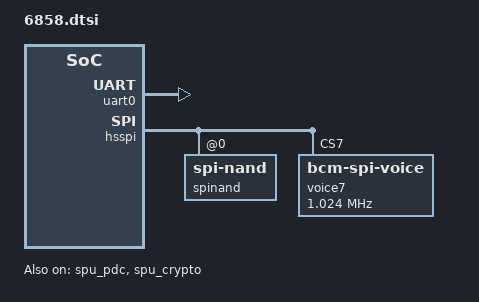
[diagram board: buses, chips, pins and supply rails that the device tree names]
/dts-v1/;

#include <dt-bindings/interrupt-controller/arm-gic.h>
#include <dt-bindings/interrupt-controller/irq.h>

#include "linux_autoconf.h"

#include "../../boot_rsvdmem.dtsi"

/ {
	/* memory reservations */
	#include "../../bcm_rsvdmem.dtsi"

	/* memc */
	#include "../../ip/memc.dtsi"

	aliases {
		serial0 = &uart0;
		serial1 = &uart1;
		spi1 = &hsspi; /* 0 = legacy, 1 = high speed */
		hs_serial0 = &hs_uart0;
		spinand0 = &spinand;
		nand0 = &nand;
	};

	chosen {
		stdout-path = "serial0:115200n8";
		/* increase coherent_pool size */
		bootargs = "coherent_pool=4M cpuidle_sysfs_switch pci=pcie_bus_safe console=ttyS0,115200 earlycon rootwait";
	};

	/* PMC */
	pmc: pmc {
		#define PMC_REG_OFFSET              0x0 0x80201000 
		#define PMC_REG_SIZE                0x0 0x3800
		#define PROCMON_REG_OFFSET          0x0 0x80280000
		#define PROCMON_REG_SIZE            0x0 0x184
		#define MISC_STRAP_BUS_OFFSET       0x0 0xff802600 
		#define MISC_STRAP_BUS_SIZE         0x0 0x4
		#include "../../ip/bcm_pmc_1_x.dtsi"
	};

    /* boot state */
	boot_state: boot_state {
		#define RESET_REASON_OFFSET  0x0 0xff802624
		#define RESET_REASON_SIZE    0x0 0x4
		#define RESET_STATUS_OFFSET  0x0 0xff802748
		#define RESET_STATUS_SIZE    0x0 0x4
		#include "../../ip/bcm_boot_state_v2.dtsi"
	};

	/* wan type auto detect */
	wantype_detect {
		#define GPON_GENERAL_CONFIG_ADDR	0x0 0x80150000
		#define GPON_GENERAL_CONFIG_SIZE	0x0 0x10
		#define EPON_TOP_ADDR			0x0 0x80140000
		#define EPON_TOP_SIZE			0x0 0x1C
		#define EPON_LIF_ADDR			0x0 0x80141800
		#define EPON_LIF_SIZE			0x0 0x110
		#define EPON_XPCSR_ADDR			0x0 0x80143000
		#define EPON_XPCSR_SIZE			0x0 0x124
		#define NGPON_RXGEN_ADDR		0x0 0x80160000
		#define NGPON_RXGEN_SIZE		0x0 0x80
		#include "../../ip/bcm_wantype_detect.dtsi"
	};

#if (defined(CONFIG_BCM_PDC) || defined(CONFIG_BCM_PDC_MODULE)) && \
    (defined(CONFIG_BCM_SPU) || defined(CONFIG_BCM_SPU_MODULE))
	/* spu */
	#define SPU_DMA_ADDR			0x00000000 0x8001c000
	#define SPU_DMA_SIZE			0x00000000 0x448
	#define SPU_DMA_NUM_CHAN		1
	#define SPU_DMA_NUM_AE			1
	#define SPU_CRYPTO_ADDR			0x00000000 0x8001d000
	#define SPU_CRYPTO_SIZE			0x00000000 0x64
	#define SPU_GMAC_SPI			118
	#include "../../ip/bcm_spu.dtsi"
#endif

	/* NAND controller and EMMC although they are on PERIPH bus, but to facilitate single
	  device tree for linux/uboot and because uboot cannot interpret composite
	  addresses, has no scope */
	/* NAND controller */
	nand: nand {
		#define NAND_CTRL_OFFSET		0x0 0xff801800
		#define NAND_CTRL_SIZE			0x0 0x400
		#define NAND_INTR_OFFSET		0x0 0xff802000
		#define NAND_INTR_SIZE			0x0 0x10
		#define NAND_CACHE_OFFSET		0x0 0xff801C00
		#define NAND_CACHE_SIZE			0x0 0x200
		#include "../../ip/bcm_nand7_1.dtsi"
	};

   	/* EMMC */
	sdhci: sdhci {
		#define SDHCI_OFFSET			0x00000000 0xff858000
		#define SDHCI_SIZE			0x00000000 0x100
		#define SDHCI_TOPCFG_OFFSET		0x00000000 0xff858100
		#define SDHCI_TOPCFG_SIZE		0x00000000 0x100
		#define SDHCI_BOOT_OFFSET		0x00000000 0xff858200
		#define SDHCI_BOOT_SIZE			0x00000000 0x40
		#define SDHCI_AHBSS_CTRL_OFFSET		0x00000000 0xff858300
		#define SDHCI_AHBSS_CTRL_SIZE		0x00000000 0x100
		#define SDIO_EMMC_SPI			95
		#include "../../ip/bcm_sdhci.dtsi"
	};

	hs_uart0: hs_serial0 {
		#define UART_OFFSET			0x0 0xff858400
		#define UART_SIZE			0x0 0x1E0
		#define UART_SPI 			93
		#include "../../ip/bcm_hs_uart.dtsi"
	};

	periph {
		compatible = "simple-bus";
		#address-cells = <2>;
		#size-cells = <2>;
		ranges = <0x0 0x0 0x0 0xff800000 0x0 0x62000>;

		/* UART 1*/
		uart0: serial0 {
			#define UART_OFFSET			0x0 0x640
			#define UART_SIZE			0x0 0x18
			#define UART_SPI 			32
			#include "../../ip/bcm_uart.dtsi"
		};

		/* UART 2*/
		uart1: serial1 {
			#define UART_OFFSET			0x0 0x660
			#define UART_SIZE			0x0 0x18
			#define UART_SPI 			33
			#include "../../ip/bcm_uart.dtsi"
		};

		/* HS SPI */
		hsspi: spi {
			pinctrl-0 = <&spim_group_pins>;
			pinctrl-names = "default";
			#define HS_SPI_OFFSET			0x0 0x1000
			#define HS_SPI_SIZE			0x0 0x600
			#define HS_SPI_MAX_FREQ			100000000
			#define HS_SPIM_SPI			37
			#include "../../ip/bcm_hsspi.dtsi"
			spinand: spi-nand@0 {
				#define SPINAND_MAX_FREQ	100000000
				#include "../../ip/bcm_spinand.dtsi"
			};

			voice7 {
				pinctrl-0 = <&a_pcm_sdin_pin_0 &a_pcm_sdout_pin_1 &a_pcm_clk_pin_2 &a_pcm_fs_pin_3>;
				pinctrl-names = "default";
				compatible = "bcm-spi-voice";
				reg = <7>; /* chip select 7 */
				spi-index = <7>;/* ZSI/ISI header position index */
				spi-max-frequency = <1024000>;
			};
		};

		rng: rng {
			#define RNG200_OFFSET			0x0 0x00000b80
			#define RNG200_SIZE			0x0 0x28
			#include "../../ip/bcm_rng200.dtsi"
		};

		i2c0: i2c0 {
			#define I2C_OFFSET			0x0 0x2100
			#define I2C_SIZE			0x0 0x60
			#include "../../ip/bcm_i2c_bus.dtsi"
		};

		/* use second i2c bus for pon sfp i2c device */
		i2c1: i2c1 {
			#define I2C_OFFSET			0x0 0x5a800
			#define I2C_SIZE			0x0 0x60
			#include "../../ip/bcm_i2c_bus.dtsi"
		};

		/* watchdog */
		wdt: watchdog {
			#define WATCHDOG_OFFSET			0x0 0x2780
			#define WATCHDOG_SIZE			0x0 0x10
			#define WATCHDOG_TIMEOUT		80
			#include "../../ip/bcm_wdt.dtsi"
		};

		/* periph timers */
		timers: timers {
			#define TIMERS_OFFSET		0x0 0x2700
			#define TIMERS__SIZE		0x0 0x48
			#define TIMER0_SPI			64
			#define TIMER1_SPI			65
			#define TIMER2_SPI			66
			#define TIMER3_SPI			67
			#include "../../ip/bcm_timer.dtsi"
		};

		/* watchdog reboot */
		wdt-reboot {
			compatible = "wdt-reboot";
			wdt = <&wdt>;
		};
		
		/* sotp */
		sotp {
			#define SOTP_OFFSET			0x0 0xc00
			#define SOTP_SIZE			0x0 0x84
			#include "../../ip/bcm_sotp.dtsi"
		};
		
		/* pinctrl */
		pincontroller: pinctrl {
			#define PINCTRL_OFFSET       0x0 0x554
			#define PINCTRL_SIZE         0x0 0xc
			#define PINCTRL_NUM_PINS     118
			#define PINCTRL_NUM_FUNC     8
			#define PINCTRL_GPIO_FUNC    5
			#include "../../ip/bcm_bca_pinctrl.dtsi"
			#include "6858_pinctrl.dtsi"
		};

		/* gpio */
		gpioc: gpioc {
			#define GPIO_DIR_OFFSET      0x0 0x500
			#define GPIO_DIR_SIZE        0x0 0x20
			#define GPIO_DATA_OFFSET     0x0 0x520
			#define GPIO_DATA_SIZE       0x0 0x20
			#define NUM_OF_GPIOS         118
			#include "../../ip/bcm_bca_gpio.dtsi"
		};

		/* external interrups */
		bca_extintr: bca_extintr0 {
			#define EXTINTR_OFFSET       0x0 0x4
			#define EXTINTR_SIZE         0x0 0x48
			#define MAX_EXT_INTR         8
			#include "../../ip/bcm_bca_extintr.dtsi"
			external_interrupts = <105 106 107 108 109 110 48 49>;
			clear_workarround;
		};
			
		/* Led Controller */
		led_ctrl: led_ctrl {
			#define LED_GLBL_CTRL_OFFSET     0x0 0x800
			#define LED_GLBL_CTRL_SIZE       0x0 0x4 
			#define LED_HW_EN_OFFSET         0x0 0x808
			#define LED_HW_EN_SIZE           0x0 0x4
			#define LED_SER_SHIFT_OFFSET     0x0 0x80c
			#define LED_SER_SHIFT_SIZE       0x0 0x4
			#define LED_FLASH_RATE_OFFSET    0x0 0x810
			#define LED_FLASH_RATE_SIZE      0x0 0x10
			#define LED_BRIGHTNESS_OFFSET    0x0 0x820
			#define LED_BRIGHTNESS_SIZE      0x0 0x10
			#define LED_POWER_LED_CFG_OFFSET 0x0 0x830
			#define LED_POWER_LED_CFG_SIZE   0x0 0x4
			#define LED_POWER_LUT_OFFSET     0x0 0x834
			#define LED_POWER_LUT_SIZE       0x0 0x80
			#define LED_HW_POLARITY_OFFSET   0x0 0x8b4
			#define LED_HW_POLARITY_SIZE     0x0 0x4
			#define LED_SW_DATA_OFFSET       0x0 0x8b8
			#define LED_SW_DATA_SIZE         0x0 0x4
			#define LED_SW_POLARITY_OFFSET   0x0 0x8bc
			#define LED_SW_POLARITY_SIZE     0x0 0x4
			#define LED_PAR_POLARITY_OFFSET  0x0 0x8c0
			#define LED_PAR_POLARITY_SIZE    0x0 0x4
			#define LED_SER_POLARITY_OFFSET  0x0 0x8c4
			#define LED_SER_POLARITY_SIZE    0x0 0x4
			#define LED_MASK_OFFSET          0x0 0x804
			#define LED_MASK_SIZE            0x0 0x4
			#define MAX_SUPPORTED_LEDS       32

			hw-polarity-quirk = <0xc0000000>;
			status = "okay";
			#include "../../ip/bcm_led_ctrl.dtsi"
			#include "6858_leds.dtsi"
		};

        legacy_leds: legacy_leds {
			compatible = "brcm,legacy-led";
        };
	};

    therm0: brcm-therm {
		compatible = "brcm,therm";
		reboot-temperature = <130000>; /* millicelsius */
	};
	
	/* network configuration */
	lport {
		compatible = "brcm,lport";
        reg = <0x0 0x80138000 0x0 0x8000>,
              <0x0 0xff802600 0x0 0xe4>,
              <0x0 0x82d2b000 0x0 0xe80>;
    };

		mdio_lport: mdio {
			compatible = "simple-bus";

			#address-cells = <1>;
			#size-cells = <0>;
			bus-type = "6858_LPORT";

			lportphy1:1 {
				compatible = "brcm,bcaphy";
				phy-type = "EGPHY";
				reg = <1>;
				caps-no-hdx;
				status = "disabled";
			};

			lportphy2:2 {
				compatible = "brcm,bcaphy";
				phy-type = "EGPHY";
				reg = <2>;
				caps-no-hdx;
				status = "disabled";
			};

			lportphy3:3 {
				compatible = "brcm,bcaphy";
				phy-type = "EGPHY";
				reg = <3>;
				caps-no-hdx;
				status = "disabled";
			};

			lportphy4:4 {
				compatible = "brcm,bcaphy";
				phy-type = "EGPHY";
				reg = <4>;
				caps-no-hdx;
				status = "disabled";
			};

			lportphy1e:1e {
				compatible = "brcm,bcaphy";
				phy-type = "EXT3";
				reg = <0x1e>;
				caps-no-hdx;
				status = "disabled";
			};

			lportphy1b:1b {
				compatible = "brcm,bcaphy";
				phy-type = "EXT3";
				reg = <0x1b>;
				caps-no-hdx;
				status = "disabled";
			};

			lportphy18:18 {
				compatible = "brcm,bcaphy";
				phy-type = "EXT2";
				reg = <0x18>;
				caps-no-hdx;
				status = "disabled";
			};

			lportphy19:19 {
				compatible = "brcm,bcaphy";
				phy-type = "EXT2";
				reg = <0x19>;
				caps-no-hdx;
				status = "disabled";
			};

			lportphy5:5 {
				compatible = "brcm,bcaphy";
				phy-type = "EXT1";
				reg = <0x5>;
				caps-no-hdx;
				status = "disabled";
			};

			lportphy6:6 {
				compatible = "brcm,bcaphy";
				phy-type = "EXT1";
				reg = <0x6>;
				caps-no-hdx;
				status = "disabled";
			};

			lportphy7:7 {
				compatible = "brcm,bcaphy";
				phy-type = "EXT1";
				reg = <0x7>;
				caps-no-hdx;
				status = "disabled";
			};
		};

		serdes_lport: serdes {
			compatible = "simple-bus";

			#address-cells = <1>;
			#size-cells = <0>;
			bus-type = "UNKOWN";

			lportphy_opt4:opt4 {
				compatible = "brcm,bcaphy";
				phy-type = "SERDES";
				reg = <0x4>;
				caps-no-hdx;
				status = "disabled";
			};

			lportphy_opt5:opt5 {
				compatible = "brcm,bcaphy";
				phy-type = "SERDES";
				reg = <0x5>;
				caps-no-hdx;
				status = "disabled";
			};

			lportphy_opt6:opt6 {
				compatible = "brcm,bcaphy";
				phy-type = "SERDES";
				reg = <0x6>;
				caps-no-hdx;
				status = "disabled";
			};

			lportphy_opt7:opt7 {
				compatible = "brcm,bcaphy";
				phy-type = "SERDES";
				reg = <0x7>;
				caps-no-hdx;
				status = "disabled";
			};
		};

	switch0: switch0 {
		compatible = "brcm,enet";
		label = "bcmsw";
		sw-type = "RUNNER_SW";

		ports {
			#address-cells = <1>;
			#size-cells = <0>;

			port0@0 {
				reg = <0>;
				mac-type = "LPORT";
				phy-handle = <&lportphy1>;
				phy-mode = "gmii";
				status = "disabled";
			};

			port_xfi0@0 {
				reg = <0>;
				mac-type = "LPORT";
				phy-mode = "xfi";
				status = "disabled";
			};

			port1@1 {
				reg = <1>;
				mac-type = "LPORT";
				phy-handle = <&lportphy2>;
				phy-mode = "gmii";
				status = "disabled";
			};

			port2@2 {
				reg = <2>;
				mac-type = "LPORT";
				phy-handle = <&lportphy3>;
				phy-mode = "gmii";
				status = "disabled";
			};

			port3@3 {
				reg = <3>;
				mac-type = "LPORT";
				phy-handle = <&lportphy4>;
				phy-mode = "gmii";
				status = "disabled";
			};

			port_xfi4@4 {
				reg = <4>;
				mac-type = "LPORT";
				phy-mode = "xfi";
				status = "disabled";
			};

			port_rgmii_4@4 {
				reg = <4>;
				mac-type = "LPORT";
				phy-mode = "rgmii";
				tx-delay;
				status = "disabled";
			};

			port_rgmii_5@5 {
				reg = <5>;
				mac-type = "LPORT";
				phy-mode = "rgmii";
				tx-delay;
				status = "disabled";
			};

			port_rgmii_6@6 {
				reg = <6>;
				mac-type = "LPORT";
				phy-mode = "rgmii";
				tx-delay;
				status = "disabled";
			};
		};
	};
};

&uart0 {
	status = "okay";
};
#if (defined(CONFIG_BCM_PDC) || defined(CONFIG_BCM_PDC_MODULE)) && \
    (defined(CONFIG_BCM_SPU) || defined(CONFIG_BCM_SPU_MODULE))
&spu_pdc {
	status = "okay";
};
&spu_crypto {
	status = "okay";
};
#endif
